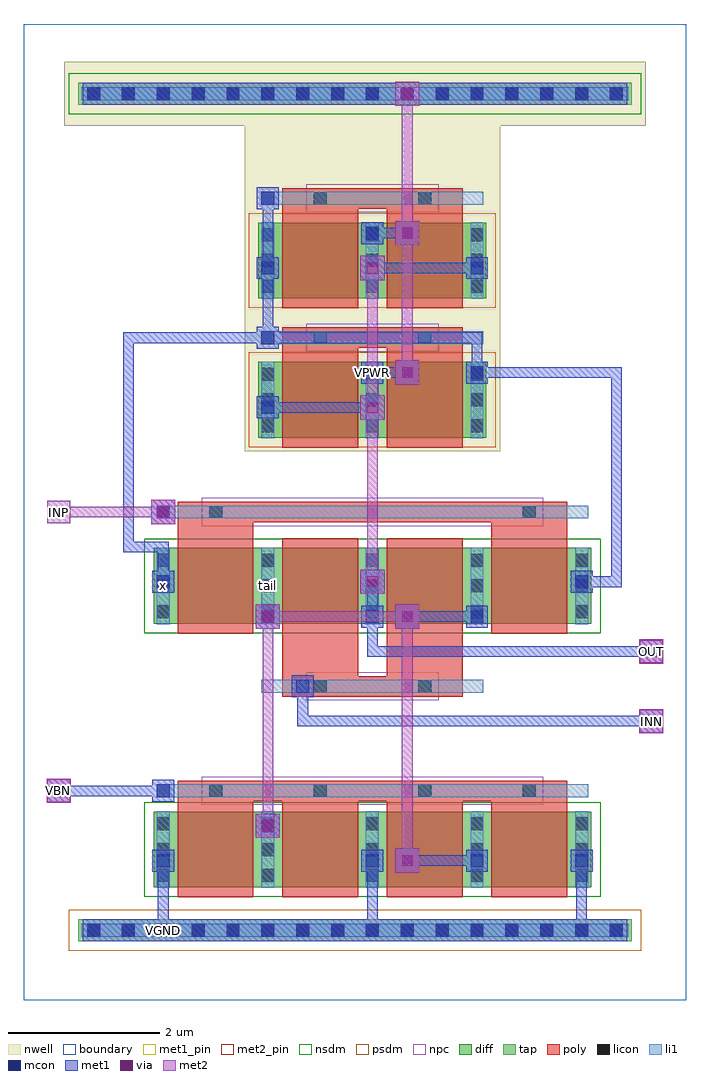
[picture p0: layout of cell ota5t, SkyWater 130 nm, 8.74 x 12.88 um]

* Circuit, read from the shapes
.subckt ota5t INN INP OUT VBN VGND VPWR tail x
XM1 tail VBN VGND VGND sky130_fd_pr__nfet_01v8 w=1 l=1 m=4
XM2 tail INP x VGND sky130_fd_pr__nfet_01v8 w=1 l=1 m=2
XM3 OUT INN tail VGND sky130_fd_pr__nfet_01v8 w=1 l=1 m=2
XM4 VPWR x OUT VPWR sky130_fd_pr__pfet_01v8 w=1 l=1 m=2
XM5 VPWR x x VPWR sky130_fd_pr__pfet_01v8 w=1 l=1 m=2
.ends

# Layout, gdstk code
import gdstk
lib = gdstk.Library(unit=1e-6, precision=1e-09)
def R(c, l, rs):  # rectangles x0, y0, x1, y1
    for r in rs: c.add(gdstk.rectangle(r[:2], r[2:], *l))
def A(c, l, x, y, w, h, nx, ny, dx, dy):  # array of equal rectangles
    R(c, l, [(x+i*dx, y+j*dy, x+i*dx+w, y+j*dy+h) for i in range(nx) for j in range(ny)])
nwell = (64, 20)
diff = (65, 20)
tap = (65, 44)
poly = (66, 20)
licon = (66, 44)
li1 = (67, 20)
mcon = (67, 44)
met1_pin = (68, 16)
met1 = (68, 20)
via = (68, 44)
met2_pin = (69, 16)
met2 = (69, 20)
nsdm = (93, 44)
psdm = (94, 20)
npc = (95, 20)
boundary = (235, 4)

ota5t = lib.new_cell('ota5t')
R(ota5t, nwell, [(2.915,7.24,6.285,11.54), (0.535,11.54,8.205,12.38)])
R(ota5t, diff, [(1.715,1.485,7.485,2.485), (1.715,4.965,7.485,5.965), (3.095,7.42,6.105,8.42), (3.095,9.26,6.105,10.26)])
R(ota5t, tap, [(0.715,0.775,8.025,1.065), (0.715,11.815,8.025,12.105)])
A(ota5t, poly, 2.03, 1.355, 1, 1.405, 4, 1, 1.38, 0)
R(ota5t, poly, [(2.03,2.625,7.17,2.895), (3.41,4.005,5.79,4.275), (3.41,4.14,4.41,6.095), (4.79,4.14,5.79,6.095), (2.03,4.835,3.03,6.44), (6.17,4.835,7.17,6.44), (2.03,6.305,7.17,6.575), (3.41,7.29,4.41,8.74), (4.79,7.29,5.79,8.74), (3.41,8.605,5.79,8.875), (3.41,9.13,4.41,10.58), (4.79,9.13,5.79,10.58), (3.41,10.445,5.79,10.715)])
A(ota5t, licon, 0.835, 0.835, 0.17, 0.17, 16, 2, 0.46, 11.04)
A(ota5t, licon, 1.755, 1.56, 0.17, 0.17, 5, 3, 1.38, 0.34)
A(ota5t, licon, 2.445, 2.675, 0.17, 0.17, 4, 1, 1.38, 0)
A(ota5t, licon, 1.755, 5.04, 0.17, 0.17, 5, 3, 1.38, 0.34)
A(ota5t, licon, 3.135, 7.495, 0.17, 0.17, 3, 3, 1.38, 0.34)
A(ota5t, licon, 3.135, 9.335, 0.17, 0.17, 3, 3, 1.38, 0.34)
R(ota5t, licon, [(3.825,4.055,3.995,4.225), (5.205,4.055,5.375,4.225), (2.445,6.355,2.615,6.525), (6.585,6.355,6.755,6.525), (3.825,8.655,3.995,8.825), (5.205,8.655,5.375,8.825), (3.825,10.495,3.995,10.665), (5.205,10.495,5.375,10.665)])
A(ota5t, li1, 1.755, 1.48, 0.17, 1.01, 5, 2, 1.38, 3.48)
A(ota5t, li1, 3.135, 7.415, 0.17, 1.01, 3, 2, 1.38, 1.84)
R(ota5t, li1, [(0.755,0.835,7.985,1.005), (1.755,2.675,7.445,2.845), (3.135,4.055,6.065,4.225), (1.755,6.355,7.445,6.525), (3.135,8.655,6.065,8.825), (3.135,10.495,6.065,10.665), (0.755,11.875,7.985,12.045)])
A(ota5t, mcon, 0.835, 0.835, 0.17, 0.17, 16, 2, 0.46, 11.04)
A(ota5t, mcon, 4.515, 1.755, 0.17, 0.17, 3, 1, 1.38, 0)
A(ota5t, mcon, 3.135, 4.975, 0.17, 0.17, 3, 1, 1.38, 0)
A(ota5t, mcon, 3.135, 7.735, 0.17, 0.17, 1, 4, 0, 0.92)
R(ota5t, mcon, [(1.755,1.755,1.925,1.925), (3.135,2.215,3.305,2.385), (1.755,2.675,1.925,2.845), (3.595,4.055,3.765,4.225), (1.755,5.435,1.925,5.605), (7.275,5.435,7.445,5.605), (1.755,6.355,1.925,6.525), (4.515,8.195,4.685,8.365), (5.895,8.195,6.065,8.365), (5.895,9.575,6.065,9.745), (4.515,10.035,4.685,10.205)])
R(ota5t, met1_pin, [(1.77,0.85,1.91,0.99), (4.455,8.135,4.745,8.425)])
A(ota5t, met1, 1.77, 0.85, 0.14, 1.06, 3, 1, 2.76, 0)
A(ota5t, met1, 4.9, 1.68, 0.32, 0.32, 1, 3, 0, 3.22)
A(ota5t, met1, 4.455, 1.695, 0.29, 0.29, 3, 1, 1.38, 0)
A(ota5t, met1, 3.075, 4.915, 0.29, 0.29, 3, 1, 1.38, 0)
A(ota5t, met1, 3.075, 7.675, 0.29, 0.29, 1, 4, 0, 0.92)
R(ota5t, met1, [(0.775,0.775,7.965,1.065), (1.77,0.85,1.91,0.99), (1.77,0.85,4.67,0.99), (4.53,0.85,7.43,0.99), (1.695,1.695,1.985,1.985), (4.99,1.77,6.05,1.91), (3.06,2.14,3.38,2.46), (3.075,2.155,3.365,2.445), (0.3,2.6,0.62,2.92), (1.695,2.615,1.985,2.905), (0.39,2.69,1.91,2.83), (8.12,3.52,8.44,3.84), (3.61,3.61,3.75,4.21), (3.61,3.61,8.35,3.75), (3.535,3.995,3.825,4.285), (8.12,4.44,8.44,4.76), (4.53,4.53,4.67,5.13), (4.53,4.53,8.35,4.67), (3.06,4.9,3.38,5.22), (4.53,4.99,4.67,5.59), (4.99,4.99,6.05,5.13), (4.44,5.36,4.76,5.68), (1.695,5.375,1.985,5.665), (7.215,5.375,7.505,5.665), (1.77,5.45,1.91,6.05), (7.29,5.45,7.89,5.59), (7.75,5.45,7.89,8.35), (1.31,5.91,1.91,6.05), (1.31,5.91,1.45,8.81), (1.68,6.28,2,6.6), (1.695,6.295,1.985,6.585), (4.44,7.66,4.76,7.98), (3.15,7.75,4.67,7.89), (4.455,8.135,4.745,8.425), (5.835,8.135,6.125,8.425), (4.53,8.21,5.13,8.35), (5.91,8.21,6.05,8.81), (5.91,8.21,7.89,8.35), (1.31,8.67,3.29,8.81), (3.15,8.67,3.29,9.73), (3.15,8.67,6.05,8.81), (4.44,9.5,4.76,9.82), (5.835,9.515,6.125,9.805), (3.15,9.59,3.29,10.65), (4.53,9.59,6.05,9.73), (4.9,9.96,5.22,10.28), (4.455,9.975,4.745,10.265), (4.53,10.05,5.13,10.19), (4.9,11.8,5.22,12.12), (0.775,11.815,7.965,12.105), (4.99,11.89,5.13,12.03)])
A(ota5t, via, 4.985, 1.765, 0.15, 0.15, 1, 3, 0, 3.22)
R(ota5t, via, [(3.145,2.225,3.295,2.375), (0.385,2.685,0.535,2.835), (8.205,3.605,8.355,3.755), (8.205,4.525,8.355,4.675), (3.145,4.985,3.295,5.135), (4.525,5.445,4.675,5.595), (1.765,6.365,1.915,6.515), (4.525,7.745,4.675,7.895), (4.525,9.585,4.675,9.735), (4.985,10.045,5.135,10.195), (4.985,11.885,5.135,12.035)])
R(ota5t, met2_pin, [(0.31,2.61,0.61,2.91), (8.13,3.53,8.43,3.83), (8.13,4.45,8.43,4.75), (0.31,6.29,0.61,6.59)])
A(ota5t, met2, 4.9, 1.68, 0.32, 0.32, 1, 3, 0, 3.22)
R(ota5t, met2, [(4.99,1.77,5.13,5.13), (3.06,2.14,3.38,2.46), (3.15,2.23,3.29,5.13), (0.3,2.6,0.62,2.92), (0.31,2.61,0.61,2.91), (0.39,2.69,0.53,2.83), (8.12,3.52,8.44,3.84), (8.13,3.53,8.43,3.83), (8.21,3.61,8.35,3.75), (8.12,4.44,8.44,4.76), (8.13,4.45,8.43,4.75), (8.21,4.53,8.35,4.67), (3.06,4.9,3.38,5.22), (3.15,4.99,5.13,5.13), (4.44,5.36,4.76,5.68), (4.53,5.45,4.67,7.89), (1.68,6.28,2,6.6), (0.31,6.29,0.61,6.59), (0.39,6.37,0.53,6.51), (0.39,6.37,1.91,6.51), (4.44,7.66,4.76,7.98), (4.53,7.75,4.67,9.73), (4.99,8.21,5.13,10.19), (4.44,9.5,4.76,9.82), (4.9,9.96,5.22,10.28), (4.99,10.05,5.13,12.03), (4.9,11.8,5.22,12.12)])
R(ota5t, nsdm, [(1.59,1.36,7.61,2.61), (1.59,4.84,7.61,6.09), (0.59,11.69,8.15,12.23)])
R(ota5t, psdm, [(0.59,0.65,8.15,1.19), (2.97,7.295,6.23,8.545), (2.97,9.135,6.23,10.385)])
R(ota5t, npc, [(2.345,2.575,6.855,2.945), (3.725,3.955,5.475,4.325), (2.345,6.255,6.855,6.625), (3.725,8.555,5.475,8.925), (3.725,10.395,5.475,10.765)])
R(ota5t, boundary, [(0,0,8.74,12.88)])
ota5t.add(gdstk.Label('x', (1.84,5.465), layer=67, texttype=5))
ota5t.add(gdstk.Label('tail', (3.22,5.465), layer=67, texttype=5))
ota5t.add(gdstk.Label('VPWR', (4.6,8.28), layer=68, texttype=5))
ota5t.add(gdstk.Label('VGND', (1.84,0.92), layer=68, texttype=5))
ota5t.add(gdstk.Label('INP', (0.46,6.44), layer=69, texttype=5))
ota5t.add(gdstk.Label('INN', (8.28,3.68), layer=69, texttype=5))
ota5t.add(gdstk.Label('VBN', (0.46,2.76), layer=69, texttype=5))
ota5t.add(gdstk.Label('OUT', (8.28,4.6), layer=69, texttype=5))
ota5t.add(gdstk.Label('VPWR', (4.6,8.28), layer=68, texttype=16))
ota5t.add(gdstk.Label('VGND', (1.84,0.92), layer=68, texttype=16))
ota5t.add(gdstk.Label('INP', (0.46,6.44), layer=69, texttype=16))
ota5t.add(gdstk.Label('INN', (8.28,3.68), layer=69, texttype=16))
ota5t.add(gdstk.Label('VBN', (0.46,2.76), layer=69, texttype=16))
ota5t.add(gdstk.Label('OUT', (8.28,4.6), layer=69, texttype=16))

lib.write_gds('ota5t.gds')
